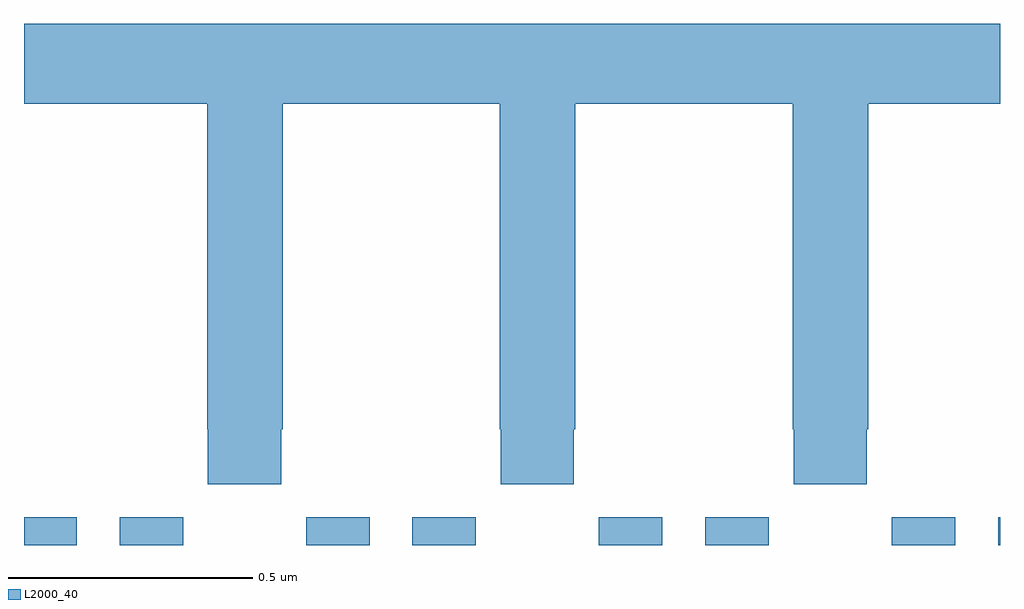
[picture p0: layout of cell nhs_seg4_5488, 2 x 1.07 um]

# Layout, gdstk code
import gdstk
lib = gdstk.Library(unit=1e-6, precision=1e-09)
def R(c, l, rs):  # rectangles x0, y0, x1, y1
    for r in rs: c.add(gdstk.rectangle(r[:2], r[2:], *l))
def P(c, l, *ps):  # polygons
    for p in ps: c.add(gdstk.Polygon(p, *l))
L2000_40 = (2000, 40)

nhs_seg4_5488 = lib.new_cell('nhs_seg4_5488')
R(nhs_seg4_5488, L2000_40, [(178,811.9,178.108,811.957), (178.196,811.9,178.326,811.957), (178.578,811.9,178.708,811.957), (178.796,811.9,178.926,811.957), (179.178,811.9,179.308,811.957), (179.396,811.9,179.526,811.957), (179.778,811.9,179.908,811.957), (179.996,811.9,180,811.957)])
P(nhs_seg4_5488, L2000_40, [(178.527,812.137),(178.53,812.137),(178.53,812.804),(178.975,812.804),(178.975,812.137),(178.977,812.137),(178.977,812.025),(179.127,812.025),(179.127,812.137),(179.13,812.137),(179.13,812.804),(179.575,812.804),(179.575,812.137),(179.577,812.137),(179.577,812.025),(179.727,812.025),(179.727,812.137),(179.73,812.137),(179.73,812.804),(180,812.804),(180,812.968),(178,812.968),(178,812.804),(178.375,812.804),(178.375,812.137),(178.377,812.137),(178.377,812.025),(178.527,812.025)])

lib.write_gds('nhs_seg4_5488.gds')
